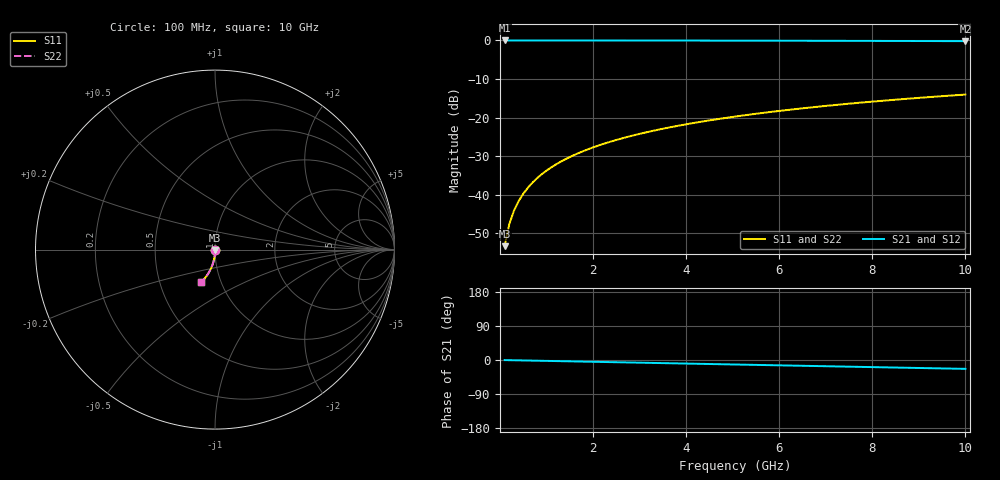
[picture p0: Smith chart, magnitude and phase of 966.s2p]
# Hz S RI R 50.00
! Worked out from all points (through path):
!   100 points, 100 MHz to 10 GHz, reference 50 ohm
!   highest |S21| = -0.01 dB at 100 MHz (marker M1); lowest = -0.2 dB at 10 GHz (marker M2)
!   group delay of S21, straight-line fit = 6.5 ps
!   lowest |S11| = -53.3 dB at 100 MHz (marker M3), VSWR 1.00, Z = 50.1 - j0.206 ohm
!   |S11| at or under -10 dB: start of sweep to end of sweep
!   |S22| runs from -53.3 to -14.0 dB; largest |S21 - S12| = 0
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1e8  0.000655 -0.00206  0.9993 -0.0041  0.9993 -0.0041  0.000655 -0.00206
2e8  0.000631 -0.00412  0.9993 -0.00821  0.9993 -0.00821  0.000631 -0.00412
3e8  0.00059 -0.00618  0.9992 -0.0123  0.9992 -0.0123  0.00059 -0.00618
4e8  0.00053 -0.00824  0.9991 -0.0164  0.9991 -0.0164  0.00053 -0.00824
5e8  0.000453 -0.0103  0.999 -0.0205  0.999 -0.0205  0.000453 -0.0103
6e8  0.00036 -0.0124  0.9989 -0.0246  0.9989 -0.0246  0.00036 -0.0124
7e8  0.000249 -0.0144  0.9988 -0.0287  0.9988 -0.0287  0.000249 -0.0144
8e8  0.000121 -0.0165  0.9986 -0.0328  0.9986 -0.0328  0.000121 -0.0165
9e8  -2.44e-05 -0.0185  0.9984 -0.0369  0.9984 -0.0369  -2.44e-05 -0.0185
1.1e9  -0.000365 -0.0226  0.998 -0.0451  0.998 -0.0451  -0.000365 -0.0226
1.4e9  -0.001 -0.0288  0.9972 -0.0574  0.9972 -0.0574  -0.001 -0.0288
1.8e9  -0.00209 -0.037  0.9958 -0.0738  0.9958 -0.0738  -0.00209 -0.037
2.1e9  -0.00308 -0.0431  0.9946 -0.086  0.9946 -0.086  -0.00308 -0.0431
2.5e9  -0.00464 -0.0511  0.9926 -0.1023  0.9926 -0.1023  -0.00464 -0.0511
2.9e9  -0.00645 -0.0592  0.9904 -0.1185  0.9904 -0.1185  -0.00645 -0.0592
3.4e9  -0.0091 -0.0691  0.987 -0.1387  0.987 -0.1387  -0.0091 -0.0691
4.2e9  -0.0142 -0.0848  0.9807 -0.1708  0.9807 -0.1708  -0.0142 -0.0848
5.1e9  -0.0211 -0.102  0.972 -0.2065  0.972 -0.2065  -0.0211 -0.102
5.9e9  -0.0282 -0.1167  0.9629 -0.2377  0.9629 -0.2377  -0.0282 -0.1167
6.7e9  -0.0363 -0.131  0.9527 -0.2684  0.9527 -0.2684  -0.0363 -0.131
8.4e9  -0.0564 -0.1592  0.9271 -0.3316  0.9271 -0.3316  -0.0564 -0.1592
1e10  -0.0785 -0.1828  0.8986 -0.3884  0.8986 -0.3884  -0.0785 -0.1828
